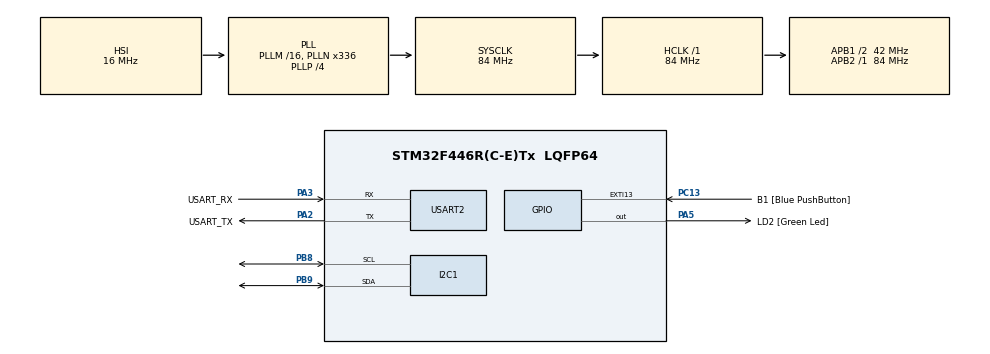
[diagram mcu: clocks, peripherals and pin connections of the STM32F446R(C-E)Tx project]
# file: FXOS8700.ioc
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Mcu.Family=STM32F4
Mcu.Name=STM32F446R(C-E)Tx
Mcu.Package=LQFP64
NVIC.PriorityGroup=NVIC_PRIORITYGROUP_0
PA13.GPIO_Label=TMS
PA13.Mode=Serial_Wire
PA13.Signal=SYS_JTMS-SWDIO
PA14.GPIO_Label=TCK
PA14.Mode=Serial_Wire
PA14.Signal=SYS_JTCK-SWCLK
PA2.GPIO_Label=USART_TX
PA2.Mode=Asynchronous
PA2.Signal=USART2_TX
PA3.GPIO_Label=USART_RX
PA3.Mode=Asynchronous
PA3.Signal=USART2_RX
PA5.GPIO_Label=LD2 [Green Led]
PA5.Signal=GPIO_Output
PB3.GPIO_Label=SWO
PB3.Signal=SYS_JTDO-SWO
PB8.GPIO_Pu=GPIO_PULLUP
PB8.Mode=I2C
PB8.Signal=I2C1_SCL
PB9.GPIO_Pu=GPIO_PULLUP
PB9.Mode=I2C
PB9.Signal=I2C1_SDA
PC13.GPIO_Label=B1 [Blue PushButton]
PC13.GPIO_ModeDefaultEXTI=GPIO_MODE_IT_FALLING
PC13.Signal=GPXTI13
PC14-OSC32_IN.Mode=LSE-External-Oscillator
PC14-OSC32_IN.Signal=RCC_OSC32_IN
PC15-OSC32_OUT.Mode=LSE-External-Oscillator
PC15-OSC32_OUT.Signal=RCC_OSC32_OUT
PH0-OSC_IN.Mode=HSE-External-Oscillator
PH0-OSC_IN.Signal=RCC_OSC_IN
PH1-OSC_OUT.Mode=HSE-External-Oscillator
PH1-OSC_OUT.Signal=RCC_OSC_OUT
ProjectManager.HeapSize=0x200
ProjectManager.StackSize=0x400
ProjectManager.TargetToolchain=STM32CubeIDE
RCC.48MHZClocksFreq_Value=84000000
RCC.AHBFreq_Value=84000000
RCC.APB1CLKDivider=RCC_HCLK_DIV2
RCC.APB1Freq_Value=42000000
RCC.APB1TimFreq_Value=84000000
RCC.APB2Freq_Value=84000000
RCC.APB2TimFreq_Value=84000000
RCC.CortexFreq_Value=84000000
RCC.FLatency-AdvancedSettings=FLASH_LATENCY_2
RCC.HCLKFreq_Value=84000000
RCC.HSE_VALUE=8000000
RCC.HSI_VALUE=16000000
RCC.PLLN=336
RCC.PLLP=RCC_PLLP_DIV4
RCC.SYSCLKFreq_VALUE=84000000
RCC.SYSCLKSource=RCC_SYSCLKSOURCE_PLLCLK
RCC.USBFreq_Value=168000000
RCC.VCOOutputFreq_Value=336000000
USART2.VirtualMode=VM_ASYNC
board=NUCLEO-F446RE

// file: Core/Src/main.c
/* USER CODE BEGIN Header */
/**
  ******************************************************************************
  * @file           : main.c
  * @brief          : Main program body
  ******************************************************************************
  * @attention
  *
  * Copyright (c) 2024 STMicroelectronics.
  * All rights reserved.
  *
  * This software is licensed under terms that can be found in the LICENSE file
  * in the root directory of this software component.
  * If no LICENSE file comes with this software, it is provided AS-IS.
  *
  ******************************************************************************
  */
/* USER CODE END Header */
#include "main.h"

/* USER CODE BEGIN PD */

// FX0S8700CQ I2C address
#define FXOS8700CQ_SLAVE_ADDR 0x1E<<1

// FXOS8700CQ internal register addresses
#define FXOS8700CQ_STATUS 0x00
#define FXOS8700CQ_M_DR_STATUS 0x32
#define FXOS8700CQ_WHOAMI 0x0D
#define FXOS8700CQ_XYZ_DATA_CFG 0x0E
#define FXOS8700CQ_CTRL_REG1 0x2A
#define FXOS8700CQ_M_CTRL_REG1 0x5B
#define FXOS8700CQ_M_CTRL_REG2 0x5C
#define FXOS8700CQ_WHOAMI_VAL 0xC7

#define G 9.81	// m/s²

/* USER CODE END PD */

I2C_HandleTypeDef hi2c1;

UART_HandleTypeDef huart2;

/* USER CODE BEGIN PV */

typedef struct {
	uint16_t x ;
	uint16_t y ;
	uint16_t z ;
} raw_data_t ;

typedef struct {
	int16_t x ;
	int16_t y ;
	int16_t z ;
} int_data_t ;

typedef struct {
	float x ;
	float y ;
	float z ;
} data_t ;

/* USER CODE END PV */

void SystemClock_Config(void);
static void MX_GPIO_Init(void);
static void MX_USART2_UART_Init(void);
static void MX_I2C1_Init(void);

/* USER CODE BEGIN 0 */

// this function configures the sensor
HAL_StatusTypeDef config_sensor( void ){

	uint8_t result_i2c ;
	uint8_t write_i2c ;

	// verify I2C device is detectable
	HAL_StatusTypeDef result = HAL_I2C_IsDeviceReady(&hi2c1, FXOS8700CQ_SLAVE_ADDR, 0, 100);

	if( result != HAL_OK ){
		return result ;				// returns error code
	}
	else{
		// checks WHO_AM_I response from device
		result = HAL_I2C_Mem_Read(&hi2c1, FXOS8700CQ_SLAVE_ADDR, FXOS8700CQ_WHOAMI, 1, &result_i2c, 1, 100);

		if( result_i2c != 0xC7 ){	// unexpected code obtained
			return result_i2c ;
		}
		else{						// goes on with the configuration
			// enter in standby mode
			write_i2c = 0x00 ;
			result = HAL_I2C_Mem_Write(&hi2c1, FXOS8700CQ_SLAVE_ADDR, FXOS8700CQ_CTRL_REG1, 1, &write_i2c, 1, 100);

			if(result != HAL_OK)return result;

			// config magnetic control register 1
			write_i2c = 0x1F ;
			result = HAL_I2C_Mem_Write(&hi2c1, FXOS8700CQ_SLAVE_ADDR, FXOS8700CQ_M_CTRL_REG1, 1, &write_i2c, 1, 100);

			if(result != HAL_OK)return result;

			// config magnetic control register 2
			write_i2c = 0x20 ;
			result = HAL_I2C_Mem_Write(&hi2c1, FXOS8700CQ_SLAVE_ADDR, FXOS8700CQ_M_CTRL_REG2, 1, &write_i2c, 1, 100);

			if(result != HAL_OK)return result;

			// config data register
			write_i2c = 0x01 ;
			result = HAL_I2C_Mem_Write(&hi2c1, FXOS8700CQ_SLAVE_ADDR, FXOS8700CQ_XYZ_DATA_CFG, 1, &write_i2c, 1, 100);

			if(result != HAL_OK)return result;

			// exit in standby mode
			write_i2c = 0x0D ;
			result = HAL_I2C_Mem_Write(&hi2c1, FXOS8700CQ_SLAVE_ADDR, FXOS8700CQ_CTRL_REG1, 1, &write_i2c, 1, 100);

			if(result != HAL_OK)return result;

			return HAL_OK ;
		}

	}

}

HAL_StatusTypeDef read_acc( data_t * acc_data ){

	raw_data_t raw_acc_data ;
	raw_data_t * raw_acc_data_p = &raw_acc_data;

	int_data_t int_acc_data ;
	int_data_t * int_acc_data_p = &int_acc_data;

	static uint8_t acc_read_len = 7 ;
	uint8_t result_i2c ;
	uint8_t write_i2c ;
	uint8_t buffer[ 10 ] ;

	// verify I2C device is detectable
	HAL_StatusTypeDef result = HAL_I2C_IsDeviceReady(&hi2c1, FXOS8700CQ_SLAVE_ADDR, 0, 100);

	if( result != HAL_OK ){
		return result ;				// returns error code
	}
	else{
		// checks WHO_AM_I response from device
		result = HAL_I2C_Mem_Read(&hi2c1, FXOS8700CQ_SLAVE_ADDR, FXOS8700CQ_WHOAMI, 1, &result_i2c, 1, 100);

		if( result_i2c != 0xC7 ){	// unexpected code obtained
			return result_i2c ;
		}
		else{						// goes on with the reading
			// read acc data
			result = HAL_I2C_Mem_Read(&hi2c1, FXOS8700CQ_SLAVE_ADDR, FXOS8700CQ_STATUS, 1, buffer, 7, 100);

			raw_acc_data_p[0].x = ((((uint16_t)buffer[1]) << 8 ) | ((uint16_t)buffer[2]) ) >> 2 ;
			raw_acc_data_p[0].y = ((((uint16_t)buffer[3]) << 8 ) | ((uint16_t)buffer[4]) ) >> 2 ;
			raw_acc_data_p[0].z = ((((uint16_t)buffer[5]) << 8 ) | ((uint16_t)buffer[6]) ) >> 2 ;

			int_acc_data_p[0].x = -8192 * ( raw_acc_data_p[0].x >> 13 ) + (raw_acc_data_p[0].x & 0x1FFF) ;
			int_acc_data_p[0].y = -8192 * ( raw_acc_data_p[0].y >> 13 ) + (raw_acc_data_p[0].y & 0x1FFF) ;
			int_acc_data_p[0].z = -8192 * ( raw_acc_data_p[0].z >> 13 ) + (raw_acc_data_p[0].z & 0x1FFF) ;

			acc_data[0].x = (int_acc_data_p[0].x / 2048.0 ) * G ;
			acc_data[0].y = (int_acc_data_p[0].y / 2048.0 ) * G ;
			acc_data[0].z = (int_acc_data_p[0].z / 2048.0 ) * G ;

			if(result != HAL_OK)return result;

			return HAL_OK ;
		}

	}

}

HAL_StatusTypeDef read_mag( data_t * mag_data ){

	raw_data_t raw_mag_data ;
	raw_data_t * raw_mag_data_p = &raw_mag_data;

	int_data_t int_mag_data ;
	int_data_t * int_mag_data_p = &int_mag_data;

	static uint8_t acc_read_len = 7 ;
	uint8_t result_i2c ;
	uint8_t write_i2c ;
	uint8_t buffer[ 10 ] ;

	// verify I2C device is detectable
	HAL_StatusTypeDef result = HAL_I2C_IsDeviceReady(&hi2c1, FXOS8700CQ_SLAVE_ADDR, 0, 100);

	if( result != HAL_OK ){
		return result ;				// returns error code
	}
	else{
		// checks WHO_AM_I response from device
		result = HAL_I2C_Mem_Read(&hi2c1, FXOS8700CQ_SLAVE_ADDR, FXOS8700CQ_WHOAMI, 1, &result_i2c, 1, 100);

		if( result_i2c != 0xC7 ){	// unexpected code obtained
			return result_i2c ;
		}
		else{						// goes on with the reading
			// read acc data
			result = HAL_I2C_Mem_Read(&hi2c1, FXOS8700CQ_SLAVE_ADDR, FXOS8700CQ_M_DR_STATUS, 1, buffer, 7, 100);

			raw_mag_data_p[0].x = ((((uint16_t)buffer[1]) << 8 ) | ((uint16_t)buffer[2]) ) ;
			raw_mag_data_p[0].y = ((((uint16_t)buffer[3]) << 8 ) | ((uint16_t)buffer[4]) ) ;
			raw_mag_data_p[0].z = ((((uint16_t)buffer[5]) << 8 ) | ((uint16_t)buffer[6]) ) ;

			int_mag_data_p[0].x = -32768 * ( raw_mag_data_p[0].x >> 15 ) + (raw_mag_data_p[0].x & 0x7FFF) ;
			int_mag_data_p[0].y = -32768 * ( raw_mag_data_p[0].y >> 15 ) + (raw_mag_data_p[0].y & 0x7FFF) ;
			int_mag_data_p[0].z = -32768 * ( raw_mag_data_p[0].z >> 15 ) + (raw_mag_data_p[0].z & 0x7FFF) ;

			mag_data[0].x = (int_mag_data_p[0].x ) * 0.1e-6 ;
			mag_data[0].y = (int_mag_data_p[0].y ) * 0.1e-6 ;
			mag_data[0].z = (int_mag_data_p[0].z ) * 0.1e-6 ;

			if(result != HAL_OK)return result;

			return HAL_OK ;
		}

	}

}

/* USER CODE END 0 */

int main(void)
{

  /* MCU Configuration--------------------------------------------------------*/

  /* Reset of all peripherals, Initializes the Flash interface and the Systick. */
  HAL_Init();

  /* Configure the system clock */
  SystemClock_Config();

  /* Initialize all configured peripherals */
  MX_GPIO_Init();
  MX_USART2_UART_Init();
  MX_I2C1_Init();
  /* USER CODE BEGIN 2 */

  HAL_StatusTypeDef result = config_sensor();

  /* USER CODE END 2 */

  /* Infinite loop */
  while (1)
  {
	  data_t acc ;		// acceleration struct with float values in [m/s²]
	  data_t mag ;		// magnetic field struct with float values in [T]

	  result  = read_acc( &acc ) ;
	  result  = read_mag( &mag ) ;

	  HAL_Delay(10);

  }
}

void SystemClock_Config(void)
{
  RCC_OscInitTypeDef RCC_OscInitStruct = {0};
  RCC_ClkInitTypeDef RCC_ClkInitStruct = {0};

  /** Configure the main internal regulator output voltage
  */
  __HAL_RCC_PWR_CLK_ENABLE();
  __HAL_PWR_VOLTAGESCALING_CONFIG(PWR_REGULATOR_VOLTAGE_SCALE3);

  /** Initializes the RCC Oscillators according to the specified parameters
  * in the RCC_OscInitTypeDef structure.
  */
  RCC_OscInitStruct.OscillatorType = RCC_OSCILLATORTYPE_HSI;
  RCC_OscInitStruct.HSIState = RCC_HSI_ON;
  RCC_OscInitStruct.HSICalibrationValue = RCC_HSICALIBRATION_DEFAULT;
  RCC_OscInitStruct.PLL.PLLState = RCC_PLL_ON;
  RCC_OscInitStruct.PLL.PLLSource = RCC_PLLSOURCE_HSI;
  RCC_OscInitStruct.PLL.PLLM = 16;
  RCC_OscInitStruct.PLL.PLLN = 336;
  RCC_OscInitStruct.PLL.PLLP = RCC_PLLP_DIV4;
  RCC_OscInitStruct.PLL.PLLQ = 2;
  RCC_OscInitStruct.PLL.PLLR = 2;
  if (HAL_RCC_OscConfig(&RCC_OscInitStruct) != HAL_OK)
  {
    Error_Handler();
  }

  /** Initializes the CPU, AHB and APB buses clocks
  */
  RCC_ClkInitStruct.ClockType = RCC_CLOCKTYPE_HCLK|RCC_CLOCKTYPE_SYSCLK
                              |RCC_CLOCKTYPE_PCLK1|RCC_CLOCKTYPE_PCLK2;
  RCC_ClkInitStruct.SYSCLKSource = RCC_SYSCLKSOURCE_PLLCLK;
  RCC_ClkInitStruct.AHBCLKDivider = RCC_SYSCLK_DIV1;
  RCC_ClkInitStruct.APB1CLKDivider = RCC_HCLK_DIV2;
  RCC_ClkInitStruct.APB2CLKDivider = RCC_HCLK_DIV1;

  if (HAL_RCC_ClockConfig(&RCC_ClkInitStruct, FLASH_LATENCY_2) != HAL_OK)
  {
    Error_Handler();
  }
}

static void MX_I2C1_Init(void)
{

  hi2c1.Instance = I2C1;
  hi2c1.Init.ClockSpeed = 100000;
  hi2c1.Init.DutyCycle = I2C_DUTYCYCLE_2;
  hi2c1.Init.OwnAddress1 = 0;
  hi2c1.Init.AddressingMode = I2C_ADDRESSINGMODE_7BIT;
  hi2c1.Init.DualAddressMode = I2C_DUALADDRESS_DISABLE;
  hi2c1.Init.OwnAddress2 = 0;
  hi2c1.Init.GeneralCallMode = I2C_GENERALCALL_DISABLE;
  hi2c1.Init.NoStretchMode = I2C_NOSTRETCH_DISABLE;
  if (HAL_I2C_Init(&hi2c1) != HAL_OK)
  {
    Error_Handler();
  }

}

static void MX_USART2_UART_Init(void)
{

  huart2.Instance = USART2;
  huart2.Init.BaudRate = 115200;
  huart2.Init.WordLength = UART_WORDLENGTH_8B;
  huart2.Init.StopBits = UART_STOPBITS_1;
  huart2.Init.Parity = UART_PARITY_NONE;
  huart2.Init.Mode = UART_MODE_TX_RX;
  huart2.Init.HwFlowCtl = UART_HWCONTROL_NONE;
  huart2.Init.OverSampling = UART_OVERSAMPLING_16;
  if (HAL_UART_Init(&huart2) != HAL_OK)
  {
    Error_Handler();
  }

}

static void MX_GPIO_Init(void)
{
  GPIO_InitTypeDef GPIO_InitStruct = {0};

  /* GPIO Ports Clock Enable */
  __HAL_RCC_GPIOC_CLK_ENABLE();
  __HAL_RCC_GPIOH_CLK_ENABLE();
  __HAL_RCC_GPIOA_CLK_ENABLE();
  __HAL_RCC_GPIOB_CLK_ENABLE();

  /*Configure GPIO pin Output Level */
  HAL_GPIO_WritePin(LD2_GPIO_Port, LD2_Pin, GPIO_PIN_RESET);

  /*Configure GPIO pin : B1_Pin */
  GPIO_InitStruct.Pin = B1_Pin;
  GPIO_InitStruct.Mode = GPIO_MODE_IT_FALLING;
  GPIO_InitStruct.Pull = GPIO_NOPULL;
  HAL_GPIO_Init(B1_GPIO_Port, &GPIO_InitStruct);

  /*Configure GPIO pin : LD2_Pin */
  GPIO_InitStruct.Pin = LD2_Pin;
  GPIO_InitStruct.Mode = GPIO_MODE_OUTPUT_PP;
  GPIO_InitStruct.Pull = GPIO_NOPULL;
  GPIO_InitStruct.Speed = GPIO_SPEED_FREQ_LOW;
  HAL_GPIO_Init(LD2_GPIO_Port, &GPIO_InitStruct);

}

void Error_Handler(void)
{
  __disable_irq();
  while (1)
  {
  }
}
